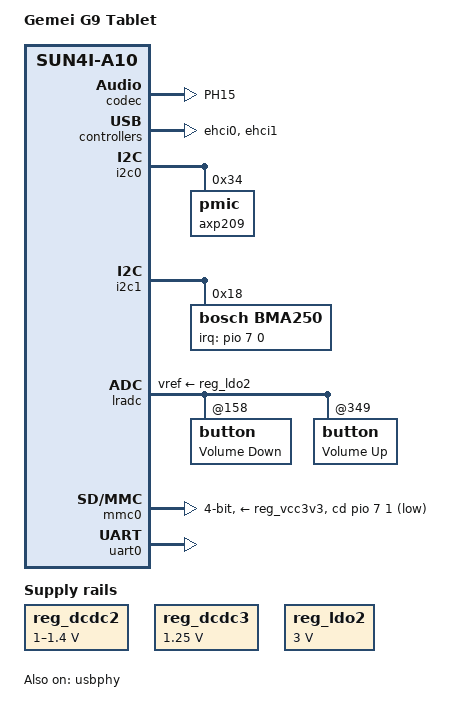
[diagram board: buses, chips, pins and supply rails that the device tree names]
/*
 * Copyright 2015 Priit Laes
 *
 * Priit Laes <plaes@plaes.org>
 *
 * This file is dual-licensed: you can use it either under the terms
 * of the GPL or the X11 license, at your option. Note that this dual
 * licensing only applies to this file, and not this project as a
 * whole.
 *
 *  a) This file is free software; you can redistribute it and/or
 *     modify it under the terms of the GNU General Public License as
 *     published by the Free Software Foundation; either version 2 of the
 *     License, or (at your option) any later version.
 *
 *     This file is distributed in the hope that it will be useful,
 *     but WITHOUT ANY WARRANTY; without even the implied warranty of
 *     MERCHANTABILITY or FITNESS FOR A PARTICULAR PURPOSE.  See the
 *     GNU General Public License for more details.
 *
 * Or, alternatively,
 *
 *  b) Permission is hereby granted, free of charge, to any person
 *     obtaining a copy of this software and associated documentation
 *     files (the "Software"), to deal in the Software without
 *     restriction, including without limitation the rights to use,
 *     copy, modify, merge, publish, distribute, sublicense, and/or
 *     sell copies of the Software, and to permit persons to whom the
 *     Software is furnished to do so, subject to the following
 *     conditions:
 *
 *     The above copyright notice and this permission notice shall be
 *     included in all copies or substantial portions of the Software.
 *
 *     THE SOFTWARE IS PROVIDED "AS IS", WITHOUT WARRANTY OF ANY KIND,
 *     EXPRESS OR IMPLIED, INCLUDING BUT NOT LIMITED TO THE WARRANTIES
 *     OF MERCHANTABILITY, FITNESS FOR A PARTICULAR PURPOSE AND
 *     NONINFRINGEMENT. IN NO EVENT SHALL THE AUTHORS OR COPYRIGHT
 *     HOLDERS BE LIABLE FOR ANY CLAIM, DAMAGES OR OTHER LIABILITY,
 *     WHETHER IN AN ACTION OF CONTRACT, TORT OR OTHERWISE, ARISING
 *     FROM, OUT OF OR IN CONNECTION WITH THE SOFTWARE OR THE USE OR
 *     OTHER DEALINGS IN THE SOFTWARE.
 */

/dts-v1/;
#include "sun4i-a10.dtsi"
#include "sunxi-common-regulators.dtsi"
#include <dt-bindings/gpio/gpio.h>
#include <dt-bindings/input/input.h>
#include <dt-bindings/interrupt-controller/irq.h>

/ {
	model = "Gemei G9 Tablet";
	compatible = "gemei,g9", "allwinner,sun4i-a10";

	aliases {
		serial0 = &uart0;
	};

	chosen {
		stdout-path = "serial0:115200n8";
	};
};

/*
 * TODO:
 *   2x cameras via CSI
 *   AXP battery management
 *   NAND
 *   OTG
 *   Touchscreen - gt801_2plus1 @ i2c adapter 2 @ 0x48
 */
&codec {
	/* PH15 controls power to external amplifier (ft2012q) */
	pinctrl-names = "default";
	pinctrl-0 = <&codec_pa_pin>;
	allwinner,pa-gpios = <&pio 7 15 GPIO_ACTIVE_HIGH>;
	status = "okay";
};

&cpu0 {
	cpu-supply = <&reg_dcdc2>;
};

&ehci0 {
	status = "okay";
};

&ehci1 {
	status = "okay";
};

&i2c0 {
	pinctrl-names = "default";
	pinctrl-0 = <&i2c0_pins_a>;
	status = "okay";

	axp209: pmic@34 {
		reg = <0x34>;
		interrupts = <0>;
	};
};

#include "axp209.dtsi"

&i2c1 {
	pinctrl-names = "default";
	pinctrl-0 = <&i2c1_pins_a>;
	status = "okay";

	/* Accelerometer */
	bma250@18 {
		compatible = "bosch,bma250";
		reg = <0x18>;
		interrupt-parent = <&pio>;
		interrupts = <7 0 IRQ_TYPE_EDGE_RISING>; /* PH00 / EINT0 */
	};
};

&lradc {
	vref-supply = <&reg_ldo2>;

	status = "okay";

	button@158 {
		label = "Volume Down";
		linux,code = <KEY_VOLUMEDOWN>;
		channel = <0>;
		voltage = <158730>;
	};

	button@349 {
		label = "Volume Up";
		linux,code = <KEY_VOLUMEUP>;
		channel = <0>;
		voltage = <349206>;
	};

	button@1142 {
		label = "Esc";
		linux,code = <KEY_ESC>;
		channel = <0>;
		voltage = <1142856>;
	};
};

&mmc0 {
	pinctrl-names = "default";
	pinctrl-0 = <&mmc0_pins_a>, <&mmc0_cd_pin_reference_design>;
	vmmc-supply = <&reg_vcc3v3>;
	bus-width = <4>;
	cd-gpios = <&pio 7 1 GPIO_ACTIVE_HIGH>; /* PH01 */
	cd-inverted;
	status = "okay";
};

&pio {
	codec_pa_pin: codec_pa_pin@0 {
		pins = "PH15";
		function = "gpio_out";
	};
};

&reg_dcdc2 {
	regulator-always-on;
	regulator-min-microvolt = <1000000>;
	regulator-max-microvolt = <1400000>;
	regulator-name = "vdd-cpu";
};

&reg_dcdc3 {
	regulator-always-on;
	regulator-min-microvolt = <1250000>;
	regulator-max-microvolt = <1250000>;
	regulator-name = "vdd-int-dll";
};

&reg_ldo1 {
	regulator-name = "vdd-rtc";
};

&reg_ldo2 {
	regulator-always-on;
	regulator-min-microvolt = <3000000>;
	regulator-max-microvolt = <3000000>;
	regulator-name = "avcc";
};

&reg_usb1_vbus {
	status = "okay";
};

&reg_usb2_vbus {
	status = "okay";
};


&uart0  {
	pinctrl-names = "default";
	pinctrl-0 = <&uart0_pins_a>;
	status = "okay";
};

&usbphy {
	usb1_vbus-supply = <&reg_usb1_vbus>;
	usb2_vbus-supply = <&reg_usb2_vbus>;
	status = "okay";
};
